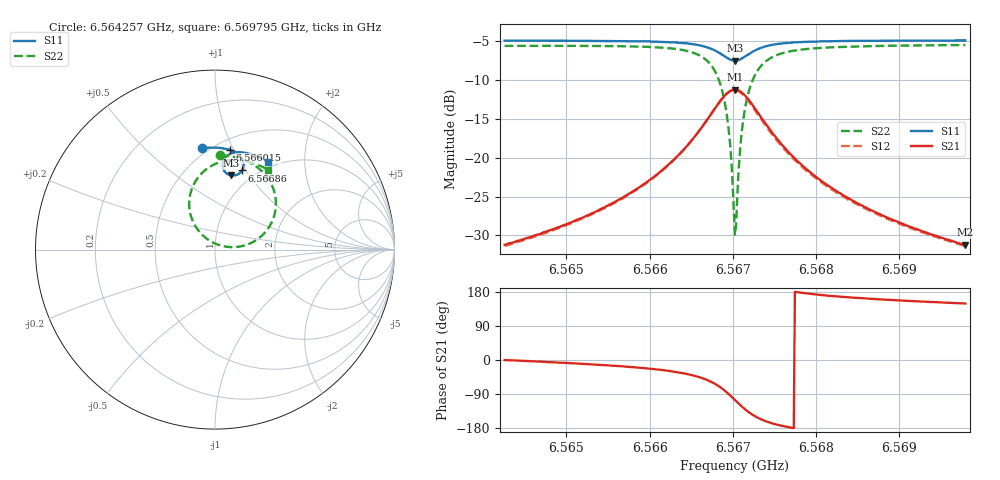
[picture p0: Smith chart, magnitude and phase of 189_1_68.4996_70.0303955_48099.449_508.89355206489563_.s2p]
#  HZ  S  RI  R  50.00
! Rohde & Schwarz Vector Network Analyzer
! Rohde-Schwarz,ZNB20-2Port,1311601062101988,3.16
! Created: UTC 3/20/2024, 4:57:02 PM
! freq[Hz]  re:S11  im:S11  re:S21  im:S21  re:S12  im:S12  re:S22  im:S22
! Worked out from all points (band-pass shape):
!   401 points, 6.564257 GHz to 6.569795 GHz, reference 50 ohm
!   highest |S21| = -11.20 dB at 6.567026 GHz (marker M1); lowest = -31.2 dB at 6.569795 GHz (marker M2)
!   |S21| within 3 dB of the highest: 6.566749 GHz to 6.567303 GHz (553.8 kHz wide, 0.00843 % of centre)
!   lowest |S11| = -7.5 dB at 6.567026 GHz (marker M3), VSWR 2.47, Z = 40.9 + j41.2 ohm
!   |S11| at or under -10 dB: nowhere
!   |S22| runs from -29.9 to -5.5 dB; largest |S21 - S12| = 0.013
!   S11 on the Smith chart (normalised r, x): 6.564257 GHz: 0.46, +0.77; 6.566015 GHz: 0.59, +0.97; 6.56686 GHz: 0.85, +0.96; 6.569795 GHz: 0.92, +1.33
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6.5642568e9  -0.0702 0.5649  0.0276 -9.83e-05  0.027 -0.000602  0.0299 0.5261
6.5651845e9  0.00539 0.5681  0.0404 -0.00729  0.0398 -0.00777  0.1171 0.5136
6.5660152e9  0.0822 0.5562  0.0672 -0.0288  0.066 -0.0296  0.2227 0.468
6.5661121e9  0.0923 0.5525  0.0724 -0.0345  0.0711 -0.0354  0.2388 0.4563
6.5664167e9  0.1269 0.5336  0.093 -0.0663  0.0915 -0.0677  0.2975 0.3935
6.5666382e9  0.1525 0.5029  0.1068 -0.1199  0.1043 -0.1222  0.3368 0.2902
6.5667628e9  0.1593 0.4723  0.0994 -0.1736  0.095 -0.1769  0.3294 0.1874
6.5668597e9  0.1506 0.4413  0.0671 -0.2268  0.0596 -0.2297  0.2717 0.0878
6.5669428e9  0.1258 0.4182  0.00734 -0.2638  -0.00349 -0.2638  0.1621 0.0223
6.5669705e9  0.1137 0.4139  -0.0189 -0.2695  -0.0302 -0.2677  0.1148 0.014
6.567012e9  0.0942 0.4128  -0.0606 -0.2682  -0.0723 -0.2635  0.0404 0.0203
6.5670259e9  0.0876 0.4137  -0.0745 -0.2651  -0.0859 -0.2593  0.0163 0.0274
6.5670397e9  0.0812 0.4155  -0.0881 -0.2606  -0.0988 -0.2538  -0.00688 0.0371
6.5670536e9  0.0752 0.418  -0.101 -0.2548  -0.1114 -0.2469  -0.0289 0.049
6.5670951e9  0.0593 0.4291  -0.1345 -0.2307  -0.1425 -0.2209  -0.0841 0.0956
6.5671366e9  0.0484 0.4441  -0.1583 -0.2005  -0.1637 -0.1897  -0.1207 0.1515
6.567192e9  0.0421 0.4652  -0.1751 -0.1584  -0.1771 -0.1477  -0.1425 0.2273
6.5672612e9  0.0442 0.4892  -0.1775 -0.112  -0.1767 -0.1027  -0.1381 0.3083
6.5675105e9  0.0825 0.5328  -0.1345 -0.0247  -0.1315 -0.0209  -0.0403 0.4536
6.5679535e9  0.1432 0.5428  -0.0784 0.00826  -0.0766 0.00954  0.0887 0.499
6.5688811e9  0.2287 0.5215  -0.0379 0.0147  -0.037 0.0151  0.2185 0.4804
6.5697949e9  0.2957 0.4884  -0.0236 0.0141  -0.0229 0.0142  0.2975 0.4431
